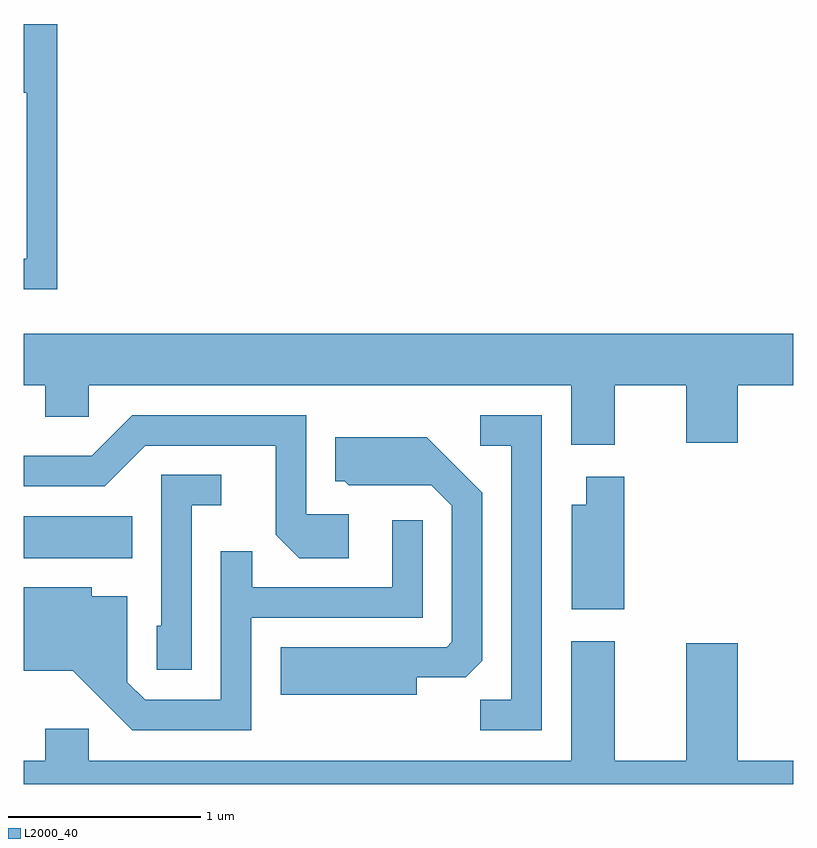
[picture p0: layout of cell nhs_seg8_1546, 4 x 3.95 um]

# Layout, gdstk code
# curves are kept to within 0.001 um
import gdstk
lib = gdstk.Library(unit=1e-6, precision=1e-09)
def R(c, l, rs):  # rectangles x0, y0, x1, y1
    for r in rs: c.add(gdstk.rectangle(r[:2], r[2:], *l))
def P(c, l, *ps):  # polygons
    for p in ps: c.add(gdstk.Polygon(p, *l))
L2000_40 = (2000, 40)

nhs_seg8_1546 = lib.new_cell('nhs_seg8_1546')
R(nhs_seg8_1546, L2000_40, [(231.611,1835.516,232.174,1835.734)])
P(nhs_seg8_1546, L2000_40, [(231.784,1838.294),(231.611,1838.294),(231.611,1837.936),(231.626,1837.936),(231.626,1837.074),(231.611,1837.074),(231.611,1836.916),(231.784,1836.916)],
  [(234.684,1836.416),(235.056,1836.416),(235.056,1836.116),(235.324,1836.116),(235.324,1836.416),(235.611,1836.416),(235.611,1836.684),(231.611,1836.684),(231.611,1836.416),(231.721,1836.416),(231.721,1836.251),(231.949,1836.251),(231.949,1836.416),(234.456,1836.416),(234.456,1836.106),(234.684,1836.106)],
  [(234.304,1836.259),(233.983,1836.259),(233.983,1836.101),(234.146,1836.101),(234.146,1834.779),(233.983,1834.779),(233.983,1834.621),(234.304,1834.621)],
  [(233.299,1835.744),(233.079,1835.744),(233.079,1836.259),(232.174,1836.259),(231.964,1836.049),(231.611,1836.049),(231.611,1835.891),(232.032,1835.891),(232.242,1836.101),(232.921,1836.101),(232.921,1835.639),(233.044,1835.516),(233.299,1835.516)],
  [(233.654,1834.896),(233.909,1834.896),(233.994,1834.982),(233.994,1835.857),(233.707,1836.144),(233.231,1836.144),(233.231,1835.916),(233.279,1835.916),(233.299,1835.896),(233.729,1835.896),(233.836,1835.789),(233.836,1835.082),(233.809,1835.054),(232.946,1835.054),(232.946,1834.806),(233.654,1834.806)],
  [(232.484,1835.791),(232.638,1835.791),(232.638,1835.949),(232.326,1835.949),(232.326,1835.164),(232.301,1835.164),(232.301,1834.936),(232.484,1834.936)],
  [(234.734,1835.939),(234.536,1835.939),(234.536,1835.794),(234.461,1835.794),(234.461,1835.251),(234.734,1835.251)],
  [(232.794,1835.206),(233.684,1835.206),(233.684,1835.713),(233.526,1835.713),(233.526,1835.364),(232.799,1835.364),(232.799,1835.553),(232.636,1835.553),(232.636,1834.779),(232.242,1834.779),(232.149,1834.872),(232.149,1835.319),(231.964,1835.319),(231.964,1835.364),(231.611,1835.364),(231.611,1834.931),(231.864,1834.931),(232.174,1834.621),(232.794,1834.621)],
  [(234.456,1835.084),(234.456,1834.464),(231.949,1834.464),(231.949,1834.629),(231.721,1834.629),(231.721,1834.464),(231.611,1834.464),(231.611,1834.342),(235.611,1834.342),(235.611,1834.464),(235.324,1834.464),(235.324,1835.074),(235.056,1835.074),(235.056,1834.464),(234.684,1834.464),(234.684,1835.084)])

lib.write_gds('nhs_seg8_1546.gds')
